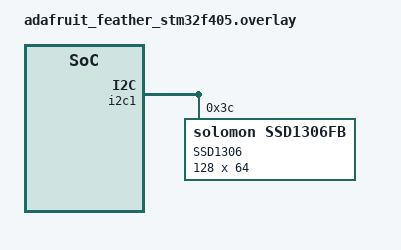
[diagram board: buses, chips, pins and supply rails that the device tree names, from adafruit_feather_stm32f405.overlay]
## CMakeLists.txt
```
# SPDX-License-Identifier: Apache-2.0

# Re-direct the directory where the 'boards' directory is found from
# $ZEPHYR_BASE to this directory.
set(BOARD_ROOT ${CMAKE_CURRENT_LIST_DIR})


set(BOARD adafruit_feather_stm32f405)
# set(SHIELD ssd1306_128x64)

cmake_minimum_required(VERSION 3.13.1)

find_package(Zephyr REQUIRED HINTS $ENV{ZEPHYR_BASE})
project(feather_stm32f405_lvgl)

FILE(GLOB app_sources src/*.c)
target_sources(app PRIVATE ${app_sources})
```

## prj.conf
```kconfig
CONFIG_HEAP_MEM_POOL_SIZE=16384
CONFIG_MAIN_STACK_SIZE=2048

# CONFIG_CONSOLE_SUBSYS=y
# CONFIG_CONSOLE_GETLINE=y

CONFIG_DISPLAY=y
CONFIG_DISPLAY_LOG_LEVEL_ERR=y

CONFIG_LOG=y

CONFIG_I2C=y

CONFIG_SSD1306=y
CONFIG_LVGL=y
CONFIG_LVGL_USE_LABEL=y
CONFIG_LVGL_USE_CONT=y
CONFIG_LVGL_USE_BTN=y
CONFIG_LVGL_USE_THEME_MATERIAL=y

CONFIG_LVGL_DISPLAY_DEV_NAME="SSD1306"
# CONFIG_SHIELD_SSD1306_128X64=y
```

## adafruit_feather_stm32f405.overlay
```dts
/*
 * Copyright (c) 2019 PHYTEC Messtechnik GmbH
 *
 * SPDX-License-Identifier: Apache-2.0
 */

&i2c1 {
	status = "okay";

	ssd1306@3c {
		compatible = "solomon,ssd1306fb";
		reg = <0x3c>;
		label = "SSD1306";
		width = <128>;
		height = <64>;
		segment-offset = <0>;
		page-offset = <0>;
		display-offset = <0>;
		multiplex-ratio = <63>;
		segment-remap;
		com-invdir;
		prechargep = <0x22>;
	};
};
```

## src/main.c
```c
/*
 * Copyright (c) 2018 Jan Van Winkel <jan.van_winkel@dxplore.eu>
 *
 * SPDX-License-Identifier: Apache-2.0
 */

#include <device.h>
#include <drivers/display.h>
#include <lvgl.h>
#include <stdio.h>
#include <string.h>
#include <zephyr.h>

#define LOG_LEVEL LOG_LEVEL_DEBUG
#include <logging/log.h>
LOG_MODULE_REGISTER(app);

void main(void)
{
	uint32_t count = 0U;
	char count_str[11] = {0};
	const struct device *display_dev;
	lv_obj_t *hello_world_label;
	lv_obj_t *count_label;

	display_dev = device_get_binding(CONFIG_LVGL_DISPLAY_DEV_NAME);

	if (display_dev == NULL) {
		LOG_ERR("device not found.  Aborting test.");
		return;
	}

	if (IS_ENABLED(CONFIG_LVGL_POINTER_KSCAN)) {
		lv_obj_t *hello_world_button;

		hello_world_button = lv_btn_create(lv_scr_act(), NULL);
		lv_obj_align(hello_world_button, NULL, LV_ALIGN_CENTER, 0, 0);
		lv_btn_set_fit(hello_world_button, LV_FIT_TIGHT);
		hello_world_label = lv_label_create(hello_world_button, NULL);
	} else {
		hello_world_label = lv_label_create(lv_scr_act(), NULL);
	}
	LOG_ERR("1");

	lv_label_set_text(hello_world_label, "Hello world!");
	LOG_ERR("2");
	lv_obj_align(hello_world_label, NULL, LV_ALIGN_CENTER, 0, 0);
	LOG_ERR("3");

	count_label = lv_label_create(lv_scr_act(), NULL);
	LOG_ERR("4");
	lv_obj_align(count_label, NULL, LV_ALIGN_IN_BOTTOM_MID, 0, 0);
	LOG_ERR("5");

	lv_task_handler();
	LOG_ERR("6");
	display_blanking_off(display_dev);
	LOG_ERR("7");

	while (1) {
		if ((count % 100) == 0U) {
			LOG_ERR("%d", count/100U);
			sprintf(count_str, "%d", count/100U);
			lv_label_set_text(count_label, count_str);
		}
		lv_task_handler();
		k_sleep(K_MSEC(10));
		++count;
	}
}
```
